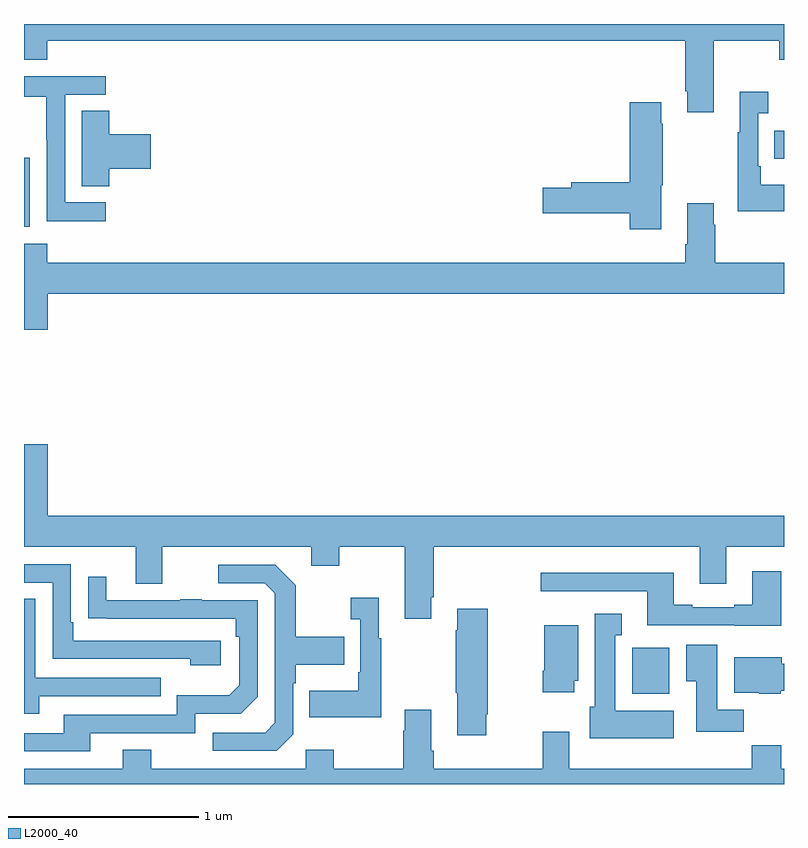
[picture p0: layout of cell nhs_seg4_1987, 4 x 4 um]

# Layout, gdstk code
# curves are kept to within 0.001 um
import gdstk
lib = gdstk.Library(unit=1e-6, precision=1e-09)
def R(c, l, rs):  # rectangles x0, y0, x1, y1
    for r in rs: c.add(gdstk.rectangle(r[:2], r[2:], *l))
def P(c, l, *ps):  # polygons
    for p in ps: c.add(gdstk.Polygon(p, *l))
L2000_40 = (2000, 40)

nhs_seg4_1987 = lib.new_cell('nhs_seg4_1987')
R(nhs_seg4_1987, L2000_40, [(216.2,801.374,216.397,801.616), (213,803.834,213.031,804.195), (216.949,804.191,217,804.339)])
P(nhs_seg4_1987, L2000_40, [(216.631,804.812),(216.976,804.812),(216.976,804.713),(217,804.713),(217,804.9),(213,804.9),(213,804.713),(213.122,804.713),(213.122,804.812),(216.479,804.812),(216.479,804.547),(216.491,804.547),(216.491,804.435),(216.631,804.435)],
  [(213.43,803.961),(213.216,803.961),(213.216,804.528),(213.43,804.528),(213.43,804.624),(213,804.624),(213,804.516),(213.118,804.516),(213.118,804.292),(213.12,804.292),(213.12,803.863),(213.43,803.863)],
  [(217,804.055),(216.877,804.055),(216.877,804.151),(216.864,804.151),(216.864,804.431),(216.916,804.431),(216.916,804.544),(216.767,804.544),(216.767,804.331),(216.756,804.331),(216.756,803.915),(217,803.915)],
  [(216.355,804.051),(216.363,804.051),(216.363,804.374),(216.355,804.374),(216.355,804.487),(216.188,804.487),(216.188,804.068),(215.879,804.068),(215.879,804.038),(215.73,804.038),(215.73,803.903),(216.188,803.903),(216.188,803.82),(216.355,803.82)],
  [(213.449,804.137),(213.667,804.137),(213.667,804.32),(213.449,804.32),(213.449,804.443),(213.305,804.443),(213.305,804.046),(213.449,804.046)],
  [(213,803.743),(213,803.292),(213.124,803.292),(213.124,803.48),(217,803.48),(217,803.644),(216.639,803.644),(216.639,803.843),(216.631,803.843),(216.631,803.956),(216.491,803.956),(216.491,803.74),(216.479,803.74),(216.479,803.644),(213.122,803.644),(213.122,803.743)],
  [(215.143,801.883),(215.156,801.883),(215.156,802.148),(216.557,802.148),(216.557,801.954),(216.697,801.954),(216.697,802.148),(217,802.148),(217,802.312),(213.124,802.312),(213.124,802.687),(213,802.687),(213,802.148),(213.587,802.148),(213.587,801.954),(213.727,801.954),(213.727,802.148),(214.511,802.148),(214.511,802.049),(214.659,802.049),(214.659,802.148),(215.003,802.148),(215.003,801.771),(215.143,801.771)],
  [(214.036,801.654),(213.259,801.654),(213.259,801.751),(213.246,801.751),(213.246,802.056),(213,802.056),(213,801.96),(213.15,801.96),(213.15,801.558),(213.875,801.558),(213.875,801.524),(214.036,801.524)],
  [(214.416,801.162),(214.416,801.431),(214.429,801.431),(214.429,801.527),(214.685,801.527),(214.685,801.675),(214.429,801.675),(214.429,801.947),(214.323,802.053),(214.023,802.053),(214.023,801.957),(214.266,801.957),(214.32,801.903),(214.32,801.222),(214.269,801.171),(213.993,801.171),(213.993,801.075),(214.329,801.075)],
  [(216.986,802.021),(216.833,802.021),(216.833,801.844),(216.737,801.844),(216.737,801.831),(216.517,801.831),(216.517,801.844),(216.421,801.844),(216.421,802.012),(215.721,802.012),(215.721,801.915),(216.281,801.915),(216.281,801.735),(216.741,801.735),(216.741,801.734),(216.986,801.734)],
  [(213.349,801.168),(213.9,801.168),(213.9,801.27),(214.14,801.27),(214.23,801.36),(214.23,801.867),(213.935,801.867),(213.935,801.872),(213.823,801.872),(213.823,801.867),(213.433,801.867),(213.433,801.991),(213.337,801.991),(213.337,801.772),(214.114,801.771),(214.114,801.674),(214.134,801.674),(214.134,801.42),(214.081,801.367),(213.804,801.367),(213.804,801.264),(213.209,801.264),(213.209,801.168),(213,801.168),(213,801.072),(213.349,801.072)],
  [(214.879,801.667),(214.867,801.667),(214.867,801.88),(214.719,801.88),(214.719,801.767),(214.77,801.767),(214.77,801.487),(214.758,801.487),(214.758,801.391),(214.501,801.391),(214.501,801.251),(214.879,801.251)],
  [(213.079,801.363),(213.719,801.363),(213.719,801.459),(213.06,801.459),(213.06,801.875),(213,801.875),(213,801.269),(213.079,801.269)],
  [(215.434,801.268),(215.442,801.268),(215.442,801.823),(215.279,801.823),(215.279,801.71),(215.272,801.71),(215.272,801.379),(215.279,801.379),(215.279,801.156),(215.434,801.156)],
  [(216.421,801.286),(216.112,801.286),(216.112,801.683),(216.145,801.683),(216.145,801.796),(216.005,801.796),(216.005,801.306),(215.978,801.306),(215.978,801.14),(216.421,801.14)],
  [(215.896,801.444),(215.917,801.444),(215.917,801.736),(215.738,801.736),(215.738,801.496),(215.731,801.496),(215.731,801.384),(215.896,801.384)],
  [(216.788,801.292),(216.649,801.292),(216.649,801.634),(216.485,801.634),(216.485,801.44),(216.539,801.44),(216.539,801.174),(216.788,801.174)],
  [(216.984,801.391),(217,801.391),(217,801.533),(216.988,801.533),(216.988,801.568),(216.737,801.568),(216.737,801.38),(216.87,801.38),(216.87,801.374),(216.984,801.374)],
  [(216.829,801.104),(216.829,800.98),(215.869,800.98),(215.869,801.175),(215.729,801.175),(215.729,800.98),(215.156,800.98),(215.156,801.076),(215.143,801.076),(215.143,801.292),(215.003,801.292),(215.003,801.179),(214.996,801.179),(214.996,800.98),(214.629,800.98),(214.629,801.079),(214.482,801.079),(214.482,800.98),(213.669,800.98),(213.669,801.079),(213.521,801.079),(213.521,800.98),(213,800.98),(213,800.9),(217,800.9),(217,800.98),(216.986,800.98),(216.986,801.104)])

lib.write_gds('nhs_seg4_1987.gds')
